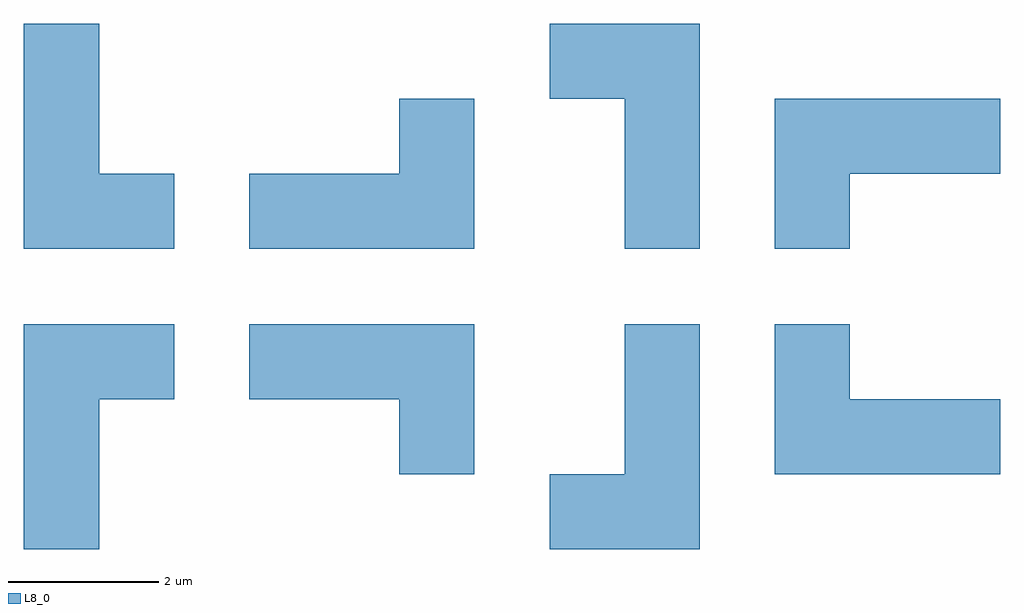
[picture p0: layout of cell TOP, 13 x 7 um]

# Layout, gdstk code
from math import pi, radians
import gdstk
lib = gdstk.Library(unit=1e-6, precision=1e-09)
def P(c, l, *ps):  # polygons
    for p in ps: c.add(gdstk.Polygon(p, *l))
L8_0 = (8, 0)

sub = lib.new_cell('SUB')
P(sub, L8_0, [(0,0),(0,3),(1,3),(1,1),(2,1),(2,0)])

top = lib.new_cell('TOP')
top.add(gdstk.Reference(sub, (0,0)))
top.add(gdstk.Reference(sub, (6,0), rotation=pi/2))
top.add(gdstk.Reference(sub, (9,3), rotation=pi))
top.add(gdstk.Reference(sub, (10,2), rotation=3*pi/2))
top.add(gdstk.Reference(sub, (0,-1), x_reflection=True))
top.add(gdstk.Reference(sub, (10,-3), rotation=pi/2, x_reflection=True))
top.add(gdstk.Reference(sub, (9,-4), rotation=pi, x_reflection=True))
top.add(gdstk.Reference(sub, (6,-1), rotation=3*pi/2, x_reflection=True))

lib.write_gds('TOP.gds')
